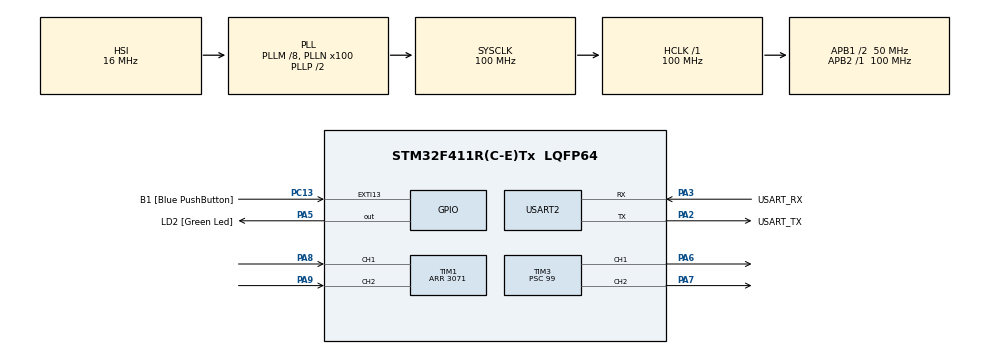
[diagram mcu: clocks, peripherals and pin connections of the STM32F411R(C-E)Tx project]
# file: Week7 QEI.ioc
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Mcu.Family=STM32F4
PC15-OSC32_OUT.Mode=LSE-External-Oscillator
RCC.CortexFreq_Value=100000000
PC13-ANTI_TAMP.GPIO_Label=B1 [Blue PushButton]
PA14.GPIO_Label=TCK
PH1\ -\ OSC_OUT.Mode=HSE-External-Clock-Source
TIM1.EncoderMode=TIM_ENCODERMODE_TI12
RCC.APB1CLKDivider=RCC_HCLK_DIV2
PC14-OSC32_IN.Signal=RCC_OSC32_IN
RCC.SYSCLKSource=RCC_SYSCLKSOURCE_PLLCLK
ProjectManager.StackSize=0x400
PA13.Signal=SYS_JTMS-SWDIO
PA3.Mode=Asynchronous
PH0\ -\ OSC_IN.Mode=HSE-External-Clock-Source
SH.S_TIM1_CH1.0=TIM1_CH1,Encoder_Interface
PH0\ -\ OSC_IN.Signal=RCC_OSC_IN
ProjectManager.TargetToolchain=STM32CubeIDE
RCC.HCLKFreq_Value=100000000
RCC.APB2TimFreq_Value=100000000
TIM3.Period=10000
PA9.Signal=S_TIM1_CH2
PC15-OSC32_OUT.Signal=RCC_OSC32_OUT
RCC.AHBFreq_Value=100000000
TIM3.Channel-PWM\ Generation1\ CH1=TIM_CHANNEL_1
PA5.Signal=GPIO_Output
SH.S_TIM3_CH2.0=TIM3_CH2,PWM Generation2 CH2
NVIC.TIM1_TRG_COM_TIM11_IRQn=true\:0\:0\:false\:false\:true\:true\:true
RCC.HSE_VALUE=8000000
PH1\ -\ OSC_OUT.Signal=RCC_OSC_OUT
board=NUCLEO-F411RE
PC13-ANTI_TAMP.Signal=GPXTI13
RCC.VCOOutputFreq_Value=200000000
RCC.APB2Freq_Value=100000000
PC14-OSC32_IN.Mode=LSE-External-Oscillator
SH.S_TIM1_CH2.0=TIM1_CH2,Encoder_Interface
VP_TIM2_VS_ClockSourceINT.Mode=Internal
PA14.Mode=Serial_Wire
TIM3.Prescaler=99
NVIC.TIM2_IRQn=true\:0\:0\:false\:false\:true\:true\:true
PA8.Signal=S_TIM1_CH1
SH.S_TIM3_CH1.0=TIM3_CH1,PWM Generation1 CH1
PA13.Mode=Serial_Wire
Mcu.Name=STM32F411R(C-E)Tx
PA2.Signal=USART2_TX
PA13.GPIO_Label=TMS
RCC.FLatency-AdvancedSettings=FLASH_LATENCY_3
RCC.48MHZClocksFreq_Value=50000000
PB3.Signal=SYS_JTDO-SWO
RCC.SYSCLKFreq_VALUE=100000000
Mcu.Package=LQFP64
TIM2.Prescaler=99
PA6.Signal=S_TIM3_CH1
PA5.GPIO_Label=LD2 [Green Led]
USART2.VirtualMode=VM_ASYNC
PC13-ANTI_TAMP.GPIO_ModeDefaultEXTI=GPIO_MODE_IT_FALLING
PA2.GPIO_Label=USART_TX
PA14.Signal=SYS_JTCK-SWCLK
ProjectManager.HeapSize=0x200
RCC.HSI_VALUE=16000000
NVIC.PriorityGroup=NVIC_PRIORITYGROUP_0
TIM3.Channel-PWM\ Generation2\ CH2=TIM_CHANNEL_2
RCC.PLLM=8
RCC.PLLN=100
RCC.APB1TimFreq_Value=100000000
PA2.Mode=Asynchronous
TIM1.Period=3071
RCC.APB1Freq_Value=50000000
PA3.GPIO_Label=USART_RX
PA3.Signal=USART2_RX
PA7.Signal=S_TIM3_CH2
PB3.GPIO_Label=SWO

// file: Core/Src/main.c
/* USER CODE BEGIN Header */
/**
 ******************************************************************************
 * @file           : main.c
 * @brief          : Main program body
 ******************************************************************************
 * @attention
 *
 * <h2><center>&copy; Copyright (c) 2021 STMicroelectronics.
 * All rights reserved.</center></h2>
 *
 * This software component is licensed by ST under BSD 3-Clause license,
 * the "License"; You may not use this file except in compliance with the
 * License. You may obtain a copy of the License at:
 *                        opensource.org/licenses/BSD-3-Clause
 *
 ******************************************************************************
 */
/* USER CODE END Header */
#include "main.h"

TIM_HandleTypeDef htim1;
TIM_HandleTypeDef htim2;
TIM_HandleTypeDef htim3;

UART_HandleTypeDef huart2;

/* USER CODE BEGIN PV */
uint64_t _micros = 0;
float EncoderVel = 0;
float rpm = 0;
float KP = 0, KI = 0, KD = 0 ;
float erorN = 0, erorP = 0;
float sumEror = 0;
float set = 0;
float PWMOut = 0;
uint64_t Timestamp_Encoder = 0;
uint64_t TimeOutputLoop = 0;
uint64_t TimeOutputLoop2 = 0;
/* USER CODE END PV */

void SystemClock_Config(void);
static void MX_GPIO_Init(void);
static void MX_USART2_UART_Init(void);
static void MX_TIM1_Init(void);
static void MX_TIM2_Init(void);
static void MX_TIM3_Init(void);
/* USER CODE BEGIN PFP */
uint64_t micros();
float EncoderVelocity_Update();

/* USER CODE END PFP */

int main(void)
{

  /* MCU Configuration--------------------------------------------------------*/

  /* Reset of all peripherals, Initializes the Flash interface and the Systick. */
  HAL_Init();

  /* Configure the system clock */
  SystemClock_Config();

  /* Initialize all configured peripherals */
  MX_GPIO_Init();
  MX_USART2_UART_Init();
  MX_TIM1_Init();
  MX_TIM2_Init();
  MX_TIM3_Init();
  /* USER CODE BEGIN 2 */
	HAL_TIM_Base_Start_IT(&htim2);
	HAL_TIM_Encoder_Start(&htim1, TIM_CHANNEL_ALL);
	HAL_TIM_Base_Start(&htim3);
	HAL_TIM_PWM_Start(&htim3, TIM_CHANNEL_1);
	HAL_TIM_PWM_Start(&htim3, TIM_CHANNEL_2);
  /* USER CODE END 2 */

  /* Infinite loop */
	while (1)
	{

    /* USER CODE BEGIN 3 */

		//RAW Read
//		if (micros() - Timestamp_Encoder >= 1000)
//		{
//			Timestamp_Encoder = micros();
//			EncoderVel = EncoderVelocity_Update();
//		}

//		Add LPF?
		if (micros() - Timestamp_Encoder >= 100)
		{
			Timestamp_Encoder = micros();
			EncoderVel = (EncoderVel * 99 + EncoderVelocity_Update()) / 100.0;
			rpm = (EncoderVel*60)/3072 ;
		}

		if (micros() - TimeOutputLoop >= 1000)//uS
				{
					TimeOutputLoop = micros();
					// #001
					erorN = set - rpm;
					sumEror = sumEror + erorN ;
					PWMOut = KP*erorN + KI * sumEror + KD *(erorN - erorP);
					erorP = erorN;
					//__HAL_TIM_SET_COMPARE(&htim1, TIM_CHANNEL_1, PWMOut);

		}
		if(micros() - TimeOutputLoop2 >= 1000)
		{
		TimeOutputLoop2 = micros();
			if (set>=0)
			{
				__HAL_TIM_SET_COMPARE(&htim3, TIM_CHANNEL_1, PWMOut);
				__HAL_TIM_SET_COMPARE(&htim3, TIM_CHANNEL_2, 0);
			}
			else if (set<0)
			{
				__HAL_TIM_SET_COMPARE(&htim3, TIM_CHANNEL_2, -PWMOut);
				__HAL_TIM_SET_COMPARE(&htim3, TIM_CHANNEL_1, 0);
			}
		}

	}
  /* USER CODE END 3 */
}

void SystemClock_Config(void)
{
  RCC_OscInitTypeDef RCC_OscInitStruct = {0};
  RCC_ClkInitTypeDef RCC_ClkInitStruct = {0};

  /** Configure the main internal regulator output voltage
  */
  __HAL_RCC_PWR_CLK_ENABLE();
  __HAL_PWR_VOLTAGESCALING_CONFIG(PWR_REGULATOR_VOLTAGE_SCALE1);
  /** Initializes the RCC Oscillators according to the specified parameters
  * in the RCC_OscInitTypeDef structure.
  */
  RCC_OscInitStruct.OscillatorType = RCC_OSCILLATORTYPE_HSI;
  RCC_OscInitStruct.HSIState = RCC_HSI_ON;
  RCC_OscInitStruct.HSICalibrationValue = RCC_HSICALIBRATION_DEFAULT;
  RCC_OscInitStruct.PLL.PLLState = RCC_PLL_ON;
  RCC_OscInitStruct.PLL.PLLSource = RCC_PLLSOURCE_HSI;
  RCC_OscInitStruct.PLL.PLLM = 8;
  RCC_OscInitStruct.PLL.PLLN = 100;
  RCC_OscInitStruct.PLL.PLLP = RCC_PLLP_DIV2;
  RCC_OscInitStruct.PLL.PLLQ = 4;
  if (HAL_RCC_OscConfig(&RCC_OscInitStruct) != HAL_OK)
  {
    Error_Handler();
  }
  /** Initializes the CPU, AHB and APB buses clocks
  */
  RCC_ClkInitStruct.ClockType = RCC_CLOCKTYPE_HCLK|RCC_CLOCKTYPE_SYSCLK
                              |RCC_CLOCKTYPE_PCLK1|RCC_CLOCKTYPE_PCLK2;
  RCC_ClkInitStruct.SYSCLKSource = RCC_SYSCLKSOURCE_PLLCLK;
  RCC_ClkInitStruct.AHBCLKDivider = RCC_SYSCLK_DIV1;
  RCC_ClkInitStruct.APB1CLKDivider = RCC_HCLK_DIV2;
  RCC_ClkInitStruct.APB2CLKDivider = RCC_HCLK_DIV1;

  if (HAL_RCC_ClockConfig(&RCC_ClkInitStruct, FLASH_LATENCY_3) != HAL_OK)
  {
    Error_Handler();
  }
}

static void MX_TIM1_Init(void)
{

  TIM_Encoder_InitTypeDef sConfig = {0};
  TIM_MasterConfigTypeDef sMasterConfig = {0};

  htim1.Instance = TIM1;
  htim1.Init.Prescaler = 0;
  htim1.Init.CounterMode = TIM_COUNTERMODE_UP;
  htim1.Init.Period = 3071;
  htim1.Init.ClockDivision = TIM_CLOCKDIVISION_DIV1;
  htim1.Init.RepetitionCounter = 0;
  htim1.Init.AutoReloadPreload = TIM_AUTORELOAD_PRELOAD_DISABLE;
  sConfig.EncoderMode = TIM_ENCODERMODE_TI12;
  sConfig.IC1Polarity = TIM_ICPOLARITY_RISING;
  sConfig.IC1Selection = TIM_ICSELECTION_DIRECTTI;
  sConfig.IC1Prescaler = TIM_ICPSC_DIV1;
  sConfig.IC1Filter = 0;
  sConfig.IC2Polarity = TIM_ICPOLARITY_RISING;
  sConfig.IC2Selection = TIM_ICSELECTION_DIRECTTI;
  sConfig.IC2Prescaler = TIM_ICPSC_DIV1;
  sConfig.IC2Filter = 0;
  if (HAL_TIM_Encoder_Init(&htim1, &sConfig) != HAL_OK)
  {
    Error_Handler();
  }
  sMasterConfig.MasterOutputTrigger = TIM_TRGO_RESET;
  sMasterConfig.MasterSlaveMode = TIM_MASTERSLAVEMODE_DISABLE;
  if (HAL_TIMEx_MasterConfigSynchronization(&htim1, &sMasterConfig) != HAL_OK)
  {
    Error_Handler();
  }

}

static void MX_TIM2_Init(void)
{

  TIM_ClockConfigTypeDef sClockSourceConfig = {0};
  TIM_MasterConfigTypeDef sMasterConfig = {0};

  htim2.Instance = TIM2;
  htim2.Init.Prescaler = 99;
  htim2.Init.CounterMode = TIM_COUNTERMODE_UP;
  htim2.Init.Period = 4294967295;
  htim2.Init.ClockDivision = TIM_CLOCKDIVISION_DIV1;
  htim2.Init.AutoReloadPreload = TIM_AUTORELOAD_PRELOAD_DISABLE;
  if (HAL_TIM_Base_Init(&htim2) != HAL_OK)
  {
    Error_Handler();
  }
  sClockSourceConfig.ClockSource = TIM_CLOCKSOURCE_INTERNAL;
  if (HAL_TIM_ConfigClockSource(&htim2, &sClockSourceConfig) != HAL_OK)
  {
    Error_Handler();
  }
  sMasterConfig.MasterOutputTrigger = TIM_TRGO_RESET;
  sMasterConfig.MasterSlaveMode = TIM_MASTERSLAVEMODE_DISABLE;
  if (HAL_TIMEx_MasterConfigSynchronization(&htim2, &sMasterConfig) != HAL_OK)
  {
    Error_Handler();
  }

}

static void MX_TIM3_Init(void)
{

  TIM_MasterConfigTypeDef sMasterConfig = {0};
  TIM_OC_InitTypeDef sConfigOC = {0};

  htim3.Instance = TIM3;
  htim3.Init.Prescaler = 99;
  htim3.Init.CounterMode = TIM_COUNTERMODE_UP;
  htim3.Init.Period = 10000;
  htim3.Init.ClockDivision = TIM_CLOCKDIVISION_DIV1;
  htim3.Init.AutoReloadPreload = TIM_AUTORELOAD_PRELOAD_DISABLE;
  if (HAL_TIM_PWM_Init(&htim3) != HAL_OK)
  {
    Error_Handler();
  }
  sMasterConfig.MasterOutputTrigger = TIM_TRGO_RESET;
  sMasterConfig.MasterSlaveMode = TIM_MASTERSLAVEMODE_DISABLE;
  if (HAL_TIMEx_MasterConfigSynchronization(&htim3, &sMasterConfig) != HAL_OK)
  {
    Error_Handler();
  }
  sConfigOC.OCMode = TIM_OCMODE_PWM1;
  sConfigOC.Pulse = 0;
  sConfigOC.OCPolarity = TIM_OCPOLARITY_HIGH;
  sConfigOC.OCFastMode = TIM_OCFAST_DISABLE;
  if (HAL_TIM_PWM_ConfigChannel(&htim3, &sConfigOC, TIM_CHANNEL_1) != HAL_OK)
  {
    Error_Handler();
  }
  if (HAL_TIM_PWM_ConfigChannel(&htim3, &sConfigOC, TIM_CHANNEL_2) != HAL_OK)
  {
    Error_Handler();
  }
  HAL_TIM_MspPostInit(&htim3);

}

static void MX_USART2_UART_Init(void)
{

  huart2.Instance = USART2;
  huart2.Init.BaudRate = 115200;
  huart2.Init.WordLength = UART_WORDLENGTH_8B;
  huart2.Init.StopBits = UART_STOPBITS_1;
  huart2.Init.Parity = UART_PARITY_NONE;
  huart2.Init.Mode = UART_MODE_TX_RX;
  huart2.Init.HwFlowCtl = UART_HWCONTROL_NONE;
  huart2.Init.OverSampling = UART_OVERSAMPLING_16;
  if (HAL_UART_Init(&huart2) != HAL_OK)
  {
    Error_Handler();
  }

}

static void MX_GPIO_Init(void)
{
  GPIO_InitTypeDef GPIO_InitStruct = {0};

  /* GPIO Ports Clock Enable */
  __HAL_RCC_GPIOC_CLK_ENABLE();
  __HAL_RCC_GPIOH_CLK_ENABLE();
  __HAL_RCC_GPIOA_CLK_ENABLE();
  __HAL_RCC_GPIOB_CLK_ENABLE();

  /*Configure GPIO pin Output Level */
  HAL_GPIO_WritePin(LD2_GPIO_Port, LD2_Pin, GPIO_PIN_RESET);

  /*Configure GPIO pin : B1_Pin */
  GPIO_InitStruct.Pin = B1_Pin;
  GPIO_InitStruct.Mode = GPIO_MODE_IT_FALLING;
  GPIO_InitStruct.Pull = GPIO_NOPULL;
  HAL_GPIO_Init(B1_GPIO_Port, &GPIO_InitStruct);

  /*Configure GPIO pin : LD2_Pin */
  GPIO_InitStruct.Pin = LD2_Pin;
  GPIO_InitStruct.Mode = GPIO_MODE_OUTPUT_PP;
  GPIO_InitStruct.Pull = GPIO_NOPULL;
  GPIO_InitStruct.Speed = GPIO_SPEED_FREQ_LOW;
  HAL_GPIO_Init(LD2_GPIO_Port, &GPIO_InitStruct);

}

/* USER CODE BEGIN 4 */
#define  HTIM_ENCODER htim1
#define  MAX_SUBPOSITION_OVERFLOW 1536
#define  MAX_ENCODER_PERIOD 3072

float EncoderVelocity_Update()
{
	//Save Last state
	static uint32_t EncoderLastPosition = 0;
	static uint64_t EncoderLastTimestamp = 0;

	//read data
	uint32_t EncoderNowPosition = HTIM_ENCODER.Instance->CNT;
	uint64_t EncoderNowTimestamp = micros();

	int32_t EncoderPositionDiff;
	uint64_t EncoderTimeDiff;

	EncoderTimeDiff = EncoderNowTimestamp - EncoderLastTimestamp;
	EncoderPositionDiff = EncoderNowPosition - EncoderLastPosition;

	//compensate overflow and underflow
	if (EncoderPositionDiff >= MAX_SUBPOSITION_OVERFLOW)
	{
		EncoderPositionDiff -= MAX_ENCODER_PERIOD;
	}
	else if (-EncoderPositionDiff >= MAX_SUBPOSITION_OVERFLOW)
	{
		EncoderPositionDiff += MAX_ENCODER_PERIOD;
	}

	//Update Position and time
	EncoderLastPosition = EncoderNowPosition;
	EncoderLastTimestamp = EncoderNowTimestamp;

	//Calculate velocity
	//EncoderTimeDiff is in uS
	return (EncoderPositionDiff * 1000000) / (float) EncoderTimeDiff;

}

void HAL_TIM_PeriodElapsedCallback(TIM_HandleTypeDef *htim)
{
	if (htim == &htim2)
	{
		_micros += 4294967295;
	}
}
uint64_t micros()
{
	return _micros + htim2.Instance->CNT;
}
/* USER CODE END 4 */

void Error_Handler(void)
{
	__disable_irq();
	while (1)
	{
	}
}

/************************ (C) COPYRIGHT STMicroelectronics *****END OF FILE****/
